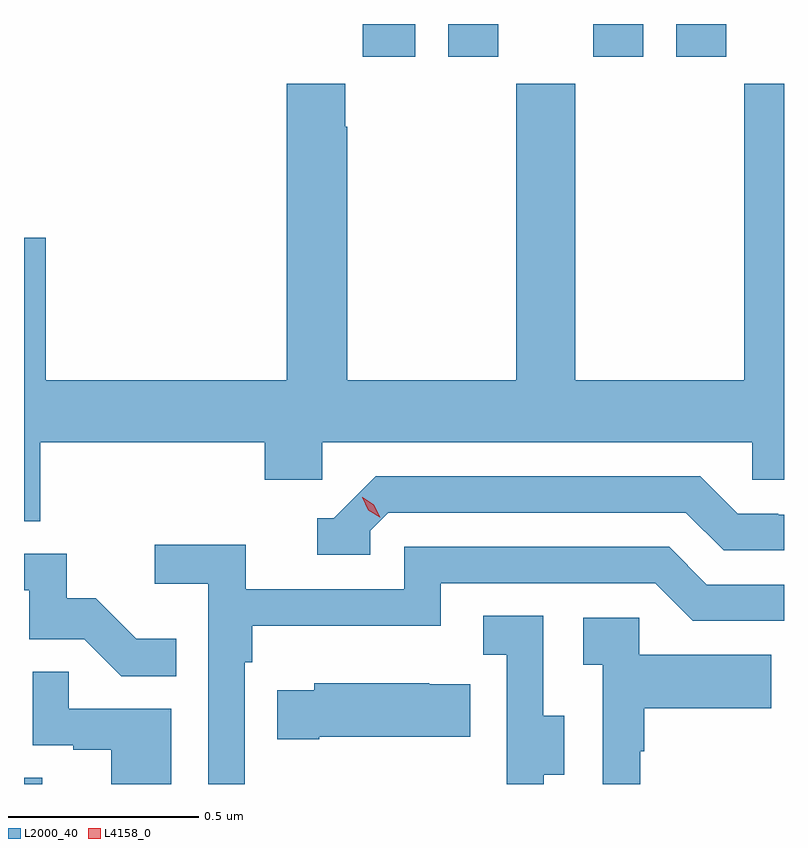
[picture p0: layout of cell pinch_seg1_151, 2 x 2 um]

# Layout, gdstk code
import gdstk
lib = gdstk.Library(unit=1e-6, precision=1e-09)
def R(c, l, rs):  # rectangles x0, y0, x1, y1
    for r in rs: c.add(gdstk.rectangle(r[:2], r[2:], *l))
def P(c, l, *ps):  # polygons
    for p in ps: c.add(gdstk.Polygon(p, *l))
L2000_40 = (2000, 40)
L4158_0 = (4158, 0)

pinch_seg1_151 = lib.new_cell('pinch_seg1_151')
R(pinch_seg1_151, L2000_40, [(1142.137,550.833,1142.185,550.85), (1143.029,552.747,1143.166,552.833), (1143.254,552.747,1143.385,552.833), (1143.635,552.747,1143.766,552.833), (1143.854,552.747,1143.985,552.833)])
P(pinch_seg1_151, L2000_40, [(1142.18,551.732),(1142.771,551.732),(1142.771,551.634),(1142.922,551.634),(1142.922,551.732),(1144.053,551.732),(1144.053,551.634),(1144.137,551.634),(1144.137,552.676),(1144.033,552.676),(1144.033,551.896),(1143.588,551.896),(1143.588,552.676),(1143.433,552.676),(1143.433,551.896),(1142.988,551.896),(1142.988,552.563),(1142.983,552.563),(1142.983,552.676),(1142.828,552.676),(1142.828,551.896),(1142.194,551.896),(1142.194,552.271),(1142.137,552.271),(1142.137,551.524),(1142.18,551.524)],
  [(1143.048,551.499),(1143.096,551.547),(1143.879,551.547),(1143.978,551.448),(1144.137,551.448),(1144.137,551.541),(1144.122,551.541),(1144.122,551.544),(1144.015,551.544),(1143.916,551.643),(1143.063,551.643),(1142.952,551.532),(1142.909,551.532),(1142.909,551.436),(1143.048,551.436)],
  [(1142.718,551.153),(1142.738,551.153),(1142.738,551.249),(1143.234,551.249),(1143.234,551.361),(1143.798,551.361),(1143.897,551.262),(1144.137,551.262),(1144.137,551.358),(1143.934,551.358),(1143.835,551.457),(1143.138,551.457),(1143.138,551.346),(1142.72,551.346),(1142.72,551.462),(1142.481,551.462),(1142.481,551.36),(1142.622,551.36),(1142.622,550.833),(1142.718,550.833)],
  [(1142.537,551.215),(1142.433,551.215),(1142.326,551.322),(1142.25,551.322),(1142.25,551.439),(1142.137,551.439),(1142.137,551.343),(1142.151,551.343),(1142.151,551.214),(1142.295,551.214),(1142.393,551.116),(1142.537,551.116)],
  [(1143.505,550.858),(1143.559,550.858),(1143.559,551.013),(1143.504,551.013),(1143.504,551.276),(1143.345,551.276),(1143.345,551.173),(1143.408,551.173),(1143.408,550.869),(1143.407,550.869),(1143.407,550.833),(1143.505,550.833)],
  [(1143.759,550.919),(1143.769,550.919),(1143.769,551.033),(1144.103,551.033),(1144.103,551.173),(1143.756,551.173),(1143.756,551.271),(1143.609,551.271),(1143.609,551.147),(1143.66,551.147),(1143.66,550.833),(1143.759,550.833)],
  [(1142.524,551.031),(1142.255,551.031),(1142.255,551.129),(1142.16,551.129),(1142.16,550.935),(1142.267,550.935),(1142.267,550.923),(1142.366,550.923),(1142.366,550.833),(1142.524,550.833)],
  [(1142.914,550.958),(1143.311,550.958),(1143.311,551.095),(1143.203,551.095),(1143.203,551.098),(1142.901,551.098),(1142.901,551.08),(1142.803,551.08),(1142.803,550.951),(1142.914,550.951)])
P(pinch_seg1_151, L4158_0, [(1143.073,551.535),(1143.043,551.554),(1143.027,551.587),(1143.027,551.587),(1143.028,551.587),(1143.058,551.568),(1143.074,551.535),(1143.074,551.535)])

lib.write_gds('pinch_seg1_151.gds')
